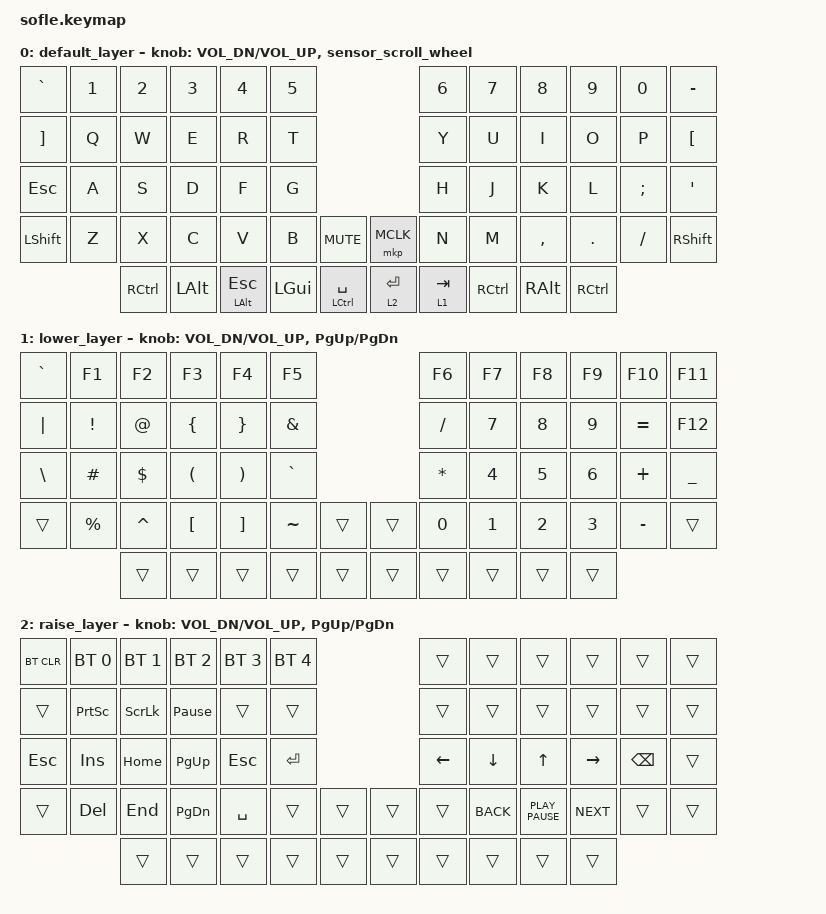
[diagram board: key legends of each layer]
/*
 * Copyright (c) 2020 The ZMK Contributors
 *
 * SPDX-License-Identifier: MIT
 */

#include <behaviors.dtsi>
#include <dt-bindings/zmk/bt.h>
#include <dt-bindings/zmk/keys.h>
#include <dt-bindings/zmk/pointing.h>

&mt { flavor = "tap-preferred"; };

/ {
    behaviors {
        sensor_scroll_wheel: sensor_scroll_wheel {
            compatible = "zmk,behavior-sensor-rotate";
            label = "SENSOR_SCROLL_WHEEL";
            #sensor-binding-cells = <0>;
            bindings = <&msc SCRL_UP>, <&msc SCRL_DOWN>;
        };
    };

    keymap {
        compatible = "zmk,keymap";

        default_layer {
            // ------------------------------------------------------------------------------------------------------------
            // |  `    |  1  |  2  |  3   |  4   |  5   |                   |  6   |  7    |  8    |  9   |   0   |       |
            // |  ESC  |  Q  |  W  |  E   |  R   |  T   |                   |  Y   |  U    |  I    |  O   |   P   | BKSPC |
            // |  TAB  |  A  |  S  |  D   |  F   |  G   |                   |  H   |  J    |  K    |  L   |   ;   |   '   |
            // | SHIFT |  Z  |  X  |  C   |  V   |  B   |  MUTE  |  |       |  N   |  M    |  ,    |  .   |   /   | SHIFT |
            //               | GUI | ALT  | CTRL | LOWER|  ENTER |  | SPACE | RAISE| CTRL  | ALT   | GUI  |

            bindings = <
&kp GRAVE  &kp N1  &kp N2     &kp N3    &kp N4        &kp N5                                  &kp N6     &kp N7     &kp N8     &kp N9     &kp N0    &kp MINUS
&kp RBKT   &kp Q   &kp W      &kp E     &kp R         &kp T                                   &kp Y      &kp U      &kp I      &kp O      &kp P     &kp LBKT
&kp ESC    &kp A   &kp S      &kp D     &kp F         &kp G                                   &kp H      &kp J      &kp K      &kp L      &kp SEMI  &kp SQT
&kp LSHFT  &kp Z   &kp X      &kp C     &kp V         &kp B     &kp C_MUTE         &mkp MCLK  &kp N      &kp M      &kp COMMA  &kp DOT    &kp FSLH  &kp RSHFT
                   &kp RCTRL  &kp LALT  &mt LALT ESC  &kp LGUI  &mt LCTRL SPACE    &lt 2 RET  &lt 1 TAB  &kp RCTRL  &kp RALT   &kp RCTRL
            >;

            sensor-bindings =
                <&inc_dec_kp C_VOL_DN C_VOL_UP>,
                <&sensor_scroll_wheel>;
        };

        lower_layer {
            // TODO: Some binds are waiting for shifted keycode support.
            // ------------------------------------------------------------------------------------------------------------
            // | `     |  F1 |  F2 |  F3  |  F4  |  F5  |                   |  F6  |  F7   |  F8   |  F9  |  F10  |  F11  |
            // | RAISE |   1 |   2 |   3  |   4  |   5  |                   |   6  |   7   |   8   |   9  |    0  |  F12  |
            // |       |  !  |  @  |  #   |  $   |  %   |                   |  ^   |  &    |  *    |  (   |   )   |   |   |
            // |       |  =  |  -  |  +   |  {   |  }   |        |  |       |  [   |  ]    |  ;    |  :   |   \   |       |
            //               |     |      |      |      |        |  |       |      |       |       |      |

            bindings = <
&kp GRAVE      &kp F1     &kp F2     &kp F3    &kp F4    &kp F5                           &kp F6     &kp F7  &kp F8  &kp F9  &kp F10    &kp F11
&kp PIPE       &kp EXCL   &kp AT     &kp LBRC  &kp RBRC  &kp AMPERSAND                    &kp SLASH  &kp N7  &kp N8  &kp N9  &kp EQUAL  &kp F12
&kp BACKSLASH  &kp HASH   &kp DLLR   &kp LPAR  &kp RPAR  &kp GRAVE                        &kp ASTRK  &kp N4  &kp N5  &kp N6  &kp PLUS   &kp UNDER
&trans         &kp PRCNT  &kp CARET  &kp LBKT  &kp RBKT  &kp TILDE      &trans    &trans  &kp N0     &kp N1  &kp N2  &kp N3  &kp MINUS  &trans
                          &trans     &trans    &trans    &trans         &trans    &trans  &trans     &trans  &trans  &trans
            >;

            sensor-bindings =
                <&inc_dec_kp C_VOL_DN C_VOL_UP>,
                <&inc_dec_kp PG_UP PG_DN>;
        };

        raise_layer {
            // ------------------------------------------------------------------------------------------------------------
            // |BTCLR| BT1  | BT2  |  BT3  |  BT4  |  BT5 |                |      |      |       |      |       |       |
            // |     | INS  | PSCR | GUI   |       |      |                | PGUP |      |       |      |       |       |
            // |     | ALT  | CTRL | SHIFT |       | CAPS |                |  <-  |   v  |   ^   |  ->  |  DEL  | BKSPC |
            // |     | UNDO | CUT  | COPY  | PASTE |      |      |  |      |      |      |       |      |       |       |
            //              |      |       |       |      |      |  |      |      |      |       |      |

            bindings = <
&bt BT_CLR  &bt BT_SEL 0     &bt BT_SEL 1    &bt BT_SEL 2     &bt BT_SEL 3  &bt BT_SEL 4                    &trans    &trans      &trans            &trans      &trans         &trans
&trans      &kp PRINTSCREEN  &kp SCROLLLOCK  &kp PAUSE_BREAK  &trans        &trans                          &trans    &trans      &trans            &trans      &trans         &trans
&kp ESC     &kp INS          &kp HOME        &kp PAGE_UP      &kp ESC       &kp RET                         &kp LEFT  &kp DOWN    &kp UP            &kp RIGHT   &kp BACKSPACE  &trans
&trans      &kp DEL          &kp END         &kp PAGE_DOWN    &kp SPACE     &trans        &trans    &trans  &trans    &kp K_BACK  &kp K_PLAY_PAUSE  &kp K_NEXT  &trans         &trans
                             &trans          &trans           &trans        &trans        &trans    &trans  &trans    &trans      &trans            &trans
            >;

            sensor-bindings =
                <&inc_dec_kp C_VOL_DN C_VOL_UP>,
                <&inc_dec_kp PG_UP PG_DN>;
        };
    };
};
